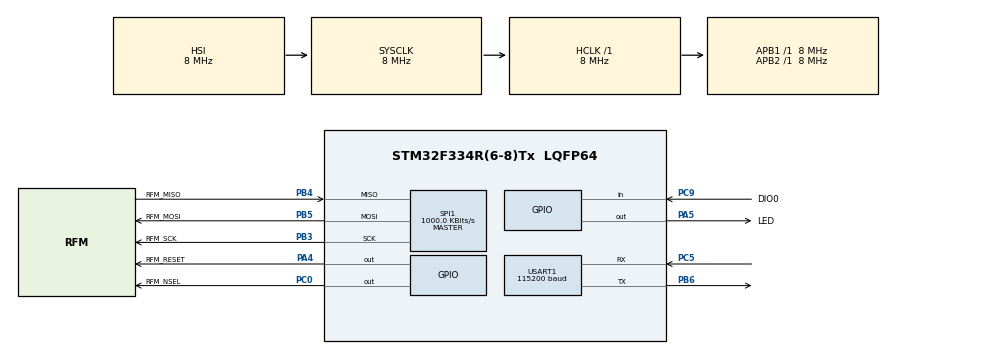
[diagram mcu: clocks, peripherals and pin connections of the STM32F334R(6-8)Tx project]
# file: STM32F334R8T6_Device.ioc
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Mcu.Family=STM32F3
RCC.CortexFreq_Value=8000000
PF0\ /\ OSC_IN.Mode=HSE-External-Clock-Source
SPI1.VirtualType=VM_MASTER
PC9.GPIO_Label=DIO0
USART1.BaudRate=115200
PC0.GPIO_Label=RFM_NSEL
SPI1.CLKPhase=SPI_PHASE_2EDGE
PC5.Mode=Asynchronous
PC0.Signal=GPIO_Output
ProjectManager.StackSize=0x400
USART1.VirtualMode-Asynchronous=VM_ASYNC
PA13.Signal=SYS_JTMS-SWDIO
SPI1.CLKPolarity=SPI_POLARITY_LOW
PA4.PinState=GPIO_PIN_SET
ProjectManager.TargetToolchain=STM32CubeIDE
SPI1.Direction=SPI_DIRECTION_2LINES
PB6.Signal=USART1_TX
PB6.Mode=Asynchronous
SPI1.CalculateBaudRate=1000.0 KBits/s
RCC.LSE_VALUE=32768
RCC.AHBFreq_Value=8000000
PA5.Signal=GPIO_Output
RCC.HSE_VALUE=8000000
PB3.Mode=Full_Duplex_Master
board=custom
PA4.GPIO_Speed=GPIO_SPEED_FREQ_HIGH
RCC.APB2Freq_Value=8000000
PB4.Mode=Full_Duplex_Master
PF0\ /\ OSC_IN.Signal=RCC_OSC_IN
PB4.GPIO_Label=RFM_MISO
SPI1.Mode=SPI_MODE_MASTER
PA14.Mode=Serial_Wire
PB5.Mode=Full_Duplex_Master
SPI1.DataSize=SPI_DATASIZE_8BIT
PA13.Mode=Serial_Wire
Mcu.Name=STM32F334R(6-8)Tx
PB3.Signal=SPI1_SCK
PA4.Signal=GPIO_Output
RCC.SYSCLKFreq_VALUE=8000000
Mcu.Package=LQFP64
PB5.Signal=SPI1_MOSI
PA5.GPIO_Label=LED
PA14.Signal=SYS_JTCK-SWCLK
ProjectManager.HeapSize=0x200
RCC.HSI_VALUE=8000000
NVIC.PriorityGroup=NVIC_PRIORITYGROUP_4
PB5.GPIO_Label=RFM_MOSI
PC5.Signal=USART1_RX
PC9.Signal=GPIO_Input
RCC.APB1Freq_Value=8000000
SPI1.BaudRatePrescaler=SPI_BAUDRATEPRESCALER_8
PA4.GPIO_Label=RFM_RESET
PB4.Signal=SPI1_MISO
PB3.GPIO_Label=RFM_SCK

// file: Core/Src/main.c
/* USER CODE BEGIN Header */
/**
 ******************************************************************************
 * @file           : main.c
 * @brief          : Main program body
 ******************************************************************************
 * @attention
 *
 * <h2><center>&copy; Copyright (c) 2021 STMicroelectronics.
 * All rights reserved.</center></h2>
 *
 * This software component is licensed by ST under BSD 3-Clause license,
 * the "License"; You may not use this file except in compliance with the
 * License. You may obtain a copy of the License at:
 *                        opensource.org/licenses/BSD-3-Clause
 *
 ******************************************************************************
 */
/* USER CODE END Header */
#include "main.h"

/* USER CODE BEGIN Includes */
#include "rfm69.h"
#include <string.h>
/* USER CODE END Includes */

/* USER CODE BEGIN PTD */
#define HUB_ID   0xAB
<<<<<<< HEAD:STM32F334R8T6_RFM69_Transmitte_HAL/Core/Src/main.c
#define DEVICE_ID 0xCB
=======
#define DEVICE_ID   0xCB
>>>>>>> 06.09.2021:STM32F334R8T6_Device/Core/Src/main.c
#define NETWORKID     0x10  /* (range up to 255)*/
#define FREQUENCY   RF69_433MHZ
#define ENCRYPTKEY    "sampleEncryptKey"

/* USER CODE END PTD */

SPI_HandleTypeDef hspi1;

UART_HandleTypeDef huart1;

void SystemClock_Config(void);
static void MX_GPIO_Init(void);
static void MX_SPI1_Init(void);
static void MX_USART1_UART_Init(void);

int main(void) {

	/* MCU Configuration--------------------------------------------------------*/

	/* Reset of all peripherals, Initializes the Flash interface and the Systick. */
	HAL_Init();

	/* Configure the system clock */
	SystemClock_Config();

	/* Initialize all configured peripherals */
	MX_GPIO_Init();
	MX_SPI1_Init();
	MX_USART1_UART_Init();
	/* USER CODE BEGIN 2 */
	typedef enum {
		LED_ENABLE_CMD = 0x01, LED_DISABLE_CMD = 0x02
	} led_cmd_t;

	uint8_t TxBuffer[30] = { };
	rfm69_down_reset_pin();
<<<<<<< HEAD:STM32F334R8T6_RFM69_Transmitte_HAL/Core/Src/main.c
	if (rfm69_init(FREQUENCY, HUB_ID, NETWORKID)) {
=======
	if (rfm69_init(FREQUENCY, DEVICE_ID, NETWORKID)) {
>>>>>>> 06.09.2021:STM32F334R8T6_Device/Core/Src/main.c
		setFrequency(433000000);
		uint32_t rfm_freq = getFrequency();
		sprintf(TxBuffer, "Freq: %u Hz\r\n", rfm_freq);
		HAL_UART_Transmit(&huart1, (uint8_t*) &TxBuffer, strlen(TxBuffer), 100);

	}
	if (!setAESEncryption(ENCRYPTKEY, 16)) {
		Error_Handler();
	}

<<<<<<< HEAD:STM32F334R8T6_RFM69_Transmitte_HAL/Core/Src/main.c
	char data_to_transmit[] = { 0x01, 0x02 };
=======
	char RxBuffer[150] = { };
	Payload receive_data;
    char send_data[2] = {0xCC, 0xAA};
	receiveBegin();
	/* USER CODE END 2 */
>>>>>>> 06.09.2021:STM32F334R8T6_Device/Core/Src/main.c

	uint8_t RxBuffer[150] = { };
	Payload receive_data;

	/* USER CODE END 2 */
	receiveBegin();
	/* Infinite loop */
	/* USER CODE BEGIN WHILE */
	while (1) {

		if (waitForResponce(&receive_data, 1000)) {
			sprintf(RxBuffer, "-------------------------------\r\n"
					"Received from sender: 0x%X\r\n"
					"Received length: %d bytes\r\n"
					"RSSI: %d\r\n"
					"Receive to: 0x%X\r\n"
					"CTL_BYTE: 0x%X\r\n", receive_data.senderId,
					receive_data.size, receive_data.signalStrength,
					receive_data.targetId, receive_data.ctlByte);

			HAL_UART_Transmit(&huart1, (uint8_t*) &RxBuffer, strlen(RxBuffer),
					100);
			for (uint8_t i = 0; i <= receive_data.size; i++) {
				sprintf(RxBuffer, "Data[%d]: 0x%X\r\n", i,
						receive_data.data[i]);
				HAL_UART_Transmit(&huart1, (uint8_t*) &RxBuffer,
						strlen(RxBuffer), 100);
			}
			sprintf(RxBuffer, "Send response to HUB\r\n");
			HAL_UART_Transmit(&huart1, (uint8_t*) &RxBuffer,strlen(RxBuffer), 100);
          send(HUB_ID, (uint8_t*)&send_data, strlen(send_data), false, true);
		}
<<<<<<< HEAD:STM32F334R8T6_RFM69_Transmitte_HAL/Core/Src/main.c
=======

>>>>>>> 06.09.2021:STM32F334R8T6_Device/Core/Src/main.c
		/* USER CODE END WHILE */

	}
}

void SystemClock_Config(void) {
	RCC_OscInitTypeDef RCC_OscInitStruct = { 0 };
	RCC_ClkInitTypeDef RCC_ClkInitStruct = { 0 };
	RCC_PeriphCLKInitTypeDef PeriphClkInit = { 0 };

	/** Initializes the RCC Oscillators according to the specified parameters
	 * in the RCC_OscInitTypeDef structure.
	 */
	RCC_OscInitStruct.OscillatorType = RCC_OSCILLATORTYPE_HSI;
	RCC_OscInitStruct.HSIState = RCC_HSI_ON;
	RCC_OscInitStruct.HSICalibrationValue = RCC_HSICALIBRATION_DEFAULT;
	RCC_OscInitStruct.PLL.PLLState = RCC_PLL_NONE;
	if (HAL_RCC_OscConfig(&RCC_OscInitStruct) != HAL_OK) {
		Error_Handler();
	}
	/** Initializes the CPU, AHB and APB buses clocks
	 */
	RCC_ClkInitStruct.ClockType = RCC_CLOCKTYPE_HCLK | RCC_CLOCKTYPE_SYSCLK
			| RCC_CLOCKTYPE_PCLK1 | RCC_CLOCKTYPE_PCLK2;
	RCC_ClkInitStruct.SYSCLKSource = RCC_SYSCLKSOURCE_HSI;
	RCC_ClkInitStruct.AHBCLKDivider = RCC_SYSCLK_DIV1;
	RCC_ClkInitStruct.APB1CLKDivider = RCC_HCLK_DIV1;
	RCC_ClkInitStruct.APB2CLKDivider = RCC_HCLK_DIV1;

	if (HAL_RCC_ClockConfig(&RCC_ClkInitStruct, FLASH_LATENCY_0) != HAL_OK) {
		Error_Handler();
	}
	PeriphClkInit.PeriphClockSelection = RCC_PERIPHCLK_USART1;
	PeriphClkInit.Usart1ClockSelection = RCC_USART1CLKSOURCE_PCLK1;
	if (HAL_RCCEx_PeriphCLKConfig(&PeriphClkInit) != HAL_OK) {
		Error_Handler();
	}
}

static void MX_SPI1_Init(void) {

	/* SPI1 parameter configuration*/
	hspi1.Instance = SPI1;
	hspi1.Init.Mode = SPI_MODE_MASTER;
	hspi1.Init.Direction = SPI_DIRECTION_2LINES;
	hspi1.Init.DataSize = SPI_DATASIZE_8BIT;
	hspi1.Init.CLKPolarity = SPI_POLARITY_LOW;
	hspi1.Init.CLKPhase = SPI_PHASE_2EDGE;
	hspi1.Init.NSS = SPI_NSS_SOFT;
	hspi1.Init.BaudRatePrescaler = SPI_BAUDRATEPRESCALER_8;
	hspi1.Init.FirstBit = SPI_FIRSTBIT_MSB;
	hspi1.Init.TIMode = SPI_TIMODE_DISABLE;
	hspi1.Init.CRCCalculation = SPI_CRCCALCULATION_DISABLE;
	hspi1.Init.CRCPolynomial = 7;
	hspi1.Init.CRCLength = SPI_CRC_LENGTH_DATASIZE;
	hspi1.Init.NSSPMode = SPI_NSS_PULSE_DISABLE;
	if (HAL_SPI_Init(&hspi1) != HAL_OK) {
		Error_Handler();
	}

}

static void MX_USART1_UART_Init(void) {

	huart1.Instance = USART1;
	huart1.Init.BaudRate = 115200;
	huart1.Init.WordLength = UART_WORDLENGTH_8B;
	huart1.Init.StopBits = UART_STOPBITS_1;
	huart1.Init.Parity = UART_PARITY_NONE;
	huart1.Init.Mode = UART_MODE_TX_RX;
	huart1.Init.HwFlowCtl = UART_HWCONTROL_NONE;
	huart1.Init.OverSampling = UART_OVERSAMPLING_16;
	huart1.Init.OneBitSampling = UART_ONE_BIT_SAMPLE_DISABLE;
	huart1.AdvancedInit.AdvFeatureInit = UART_ADVFEATURE_NO_INIT;
	if (HAL_UART_Init(&huart1) != HAL_OK) {
		Error_Handler();
	}

}

static void MX_GPIO_Init(void) {
	GPIO_InitTypeDef GPIO_InitStruct = { 0 };

	/* GPIO Ports Clock Enable */
	__HAL_RCC_GPIOF_CLK_ENABLE();
	__HAL_RCC_GPIOC_CLK_ENABLE();
	__HAL_RCC_GPIOA_CLK_ENABLE();
	__HAL_RCC_GPIOB_CLK_ENABLE();

	/*Configure GPIO pin Output Level */
	HAL_GPIO_WritePin(RFM_NSEL_GPIO_Port, RFM_NSEL_Pin, GPIO_PIN_RESET);

	/*Configure GPIO pin Output Level */
	HAL_GPIO_WritePin(RFM_RESET_GPIO_Port, RFM_RESET_Pin, GPIO_PIN_SET);

	/*Configure GPIO pin Output Level */
	HAL_GPIO_WritePin(LED_GPIO_Port, LED_Pin, GPIO_PIN_RESET);

	/*Configure GPIO pin : RFM_NSEL_Pin */
	GPIO_InitStruct.Pin = RFM_NSEL_Pin;
	GPIO_InitStruct.Mode = GPIO_MODE_OUTPUT_PP;
	GPIO_InitStruct.Pull = GPIO_NOPULL;
	GPIO_InitStruct.Speed = GPIO_SPEED_FREQ_LOW;
	HAL_GPIO_Init(RFM_NSEL_GPIO_Port, &GPIO_InitStruct);

	/*Configure GPIO pin : RFM_RESET_Pin */
	GPIO_InitStruct.Pin = RFM_RESET_Pin;
	GPIO_InitStruct.Mode = GPIO_MODE_OUTPUT_PP;
	GPIO_InitStruct.Pull = GPIO_NOPULL;
	GPIO_InitStruct.Speed = GPIO_SPEED_FREQ_HIGH;
	HAL_GPIO_Init(RFM_RESET_GPIO_Port, &GPIO_InitStruct);

	/*Configure GPIO pin : LED_Pin */
	GPIO_InitStruct.Pin = LED_Pin;
	GPIO_InitStruct.Mode = GPIO_MODE_OUTPUT_PP;
	GPIO_InitStruct.Pull = GPIO_NOPULL;
	GPIO_InitStruct.Speed = GPIO_SPEED_FREQ_LOW;
	HAL_GPIO_Init(LED_GPIO_Port, &GPIO_InitStruct);

	/*Configure GPIO pin : DIO0_Pin */
	GPIO_InitStruct.Pin = DIO0_Pin;
	GPIO_InitStruct.Mode = GPIO_MODE_INPUT;
	GPIO_InitStruct.Pull = GPIO_NOPULL;
	HAL_GPIO_Init(DIO0_GPIO_Port, &GPIO_InitStruct);

}

void Error_Handler(void) {
	__disable_irq();
	while (1) {
	}
}

/************************ (C) COPYRIGHT STMicroelectronics *****END OF FILE****/
